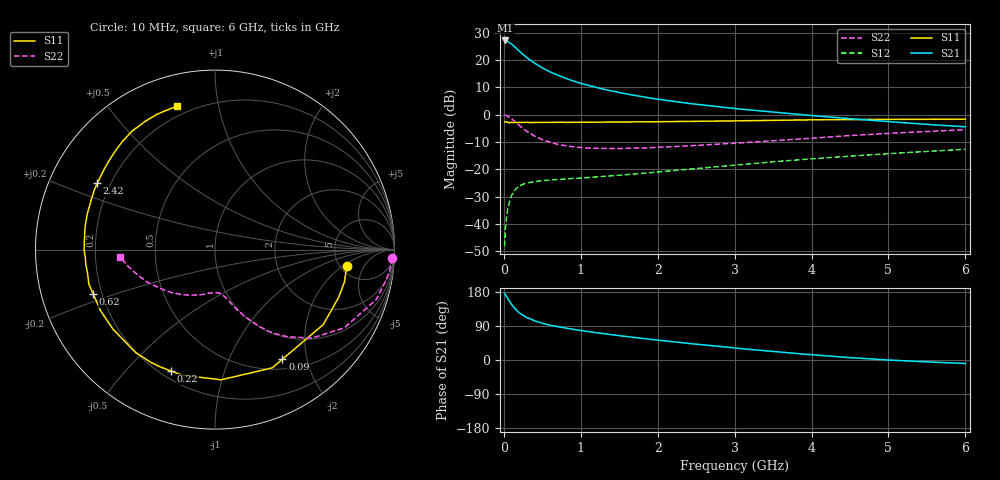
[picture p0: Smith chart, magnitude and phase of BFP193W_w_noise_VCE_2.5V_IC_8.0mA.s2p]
! Infineon Technologies  Discrete & RF Semiconductors
! BFP193W
! VCE = 2.5 V,  IC =  8.0 mA
! Common Emitter S-Parameters:  Jan 2016
# GHz  S  MA  R  50
!  f  S11  S21  S12  S22
! GHz  MAG  ANG  MAG  ANG  MAG  ANG  MAG  ANG
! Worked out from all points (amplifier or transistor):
!   210 points, 10 MHz to 6 GHz, reference 50 ohm
!   highest |S21| = 27.2 dB at 20 MHz (marker M1)
!   |S21| within 3 dB of that: start of sweep to 167.1 MHz
!   unconditionally stable (mu >= 1): 1.414 GHz to 4.33 GHz
!   at 185 MHz: K = 0.19, MSG = 25.1 dB, |S12| = -26.5 dB
!   at 1.52 GHz: K = 1.04, MAG = 13.9 dB, |S12| = -22.1 dB
!   at 6 GHz: K = 0.93, MSG = 4.1 dB, |S12| = -12.7 dB
!   lowest NFmin = 1.25 dB at 450 MHz
!   S11 on the Smith chart (normalised r, x): 10 MHz: 5.78, -2.27; 90 MHz: 0.64, -1.60; 220 MHz: 0.24, -0.67; 620 MHz: 0.17, -0.17; 2.42 GHz: 0.15, +0.26; 6 GHz: 0.15, +0.76
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0.01  0.7402 -6.9  22.81 175.5  0.0039 86.6  0.9872 -2.7
0.02  0.7434 -14.1  22.87 172.6  0.0079 82.9  0.9797 -7.1
0.05  0.7338 -34.7  22.06 161.8  0.0187 74.6  0.9411 -17.1
0.09  0.717 -58.4  20.05 149.7  0.0299 62.3  0.8578 -28.1
0.1  0.732 -64.2  19.7 146.4  0.0328 60.6  0.8424 -31.1
0.15  0.7262 -87.3  17.07 133.8  0.0429 50.7  0.7324 -42.3
0.2  0.7232 -104.7  14.62 124.5  0.049 43.7  0.6335 -50.1
0.22  0.7193 -109.9  13.82 121.9  0.0507 41.6  0.6021 -52.3
0.26  0.7226 -119.6  12.34 116.4  0.0538 37.9  0.5435 -56.8
0.3  0.7242 -127.6  11.03 111.8  0.056 35.2  0.4914 -60.2
0.4  0.7209 -142.0  8.748 103.2  0.0595 30.8  0.4043 -66.3
0.5  0.723 -151.9  7.197 96.9  0.0618 29.1  0.3492 -70.4
0.62  0.722 -160.0  5.917 91.2  0.0639 28.1  0.3069 -73.9
0.8  0.7221 -169.3  4.642 84.1  0.0664 28.6  0.2697 -78.0
1.02  0.7249 -177.4  3.677 77.2  0.0693 30.0  0.2482 -82.8
1.44  0.7337 170.8  2.643 65.7  0.0766 34.1  0.2396 -90.9
2.02  0.7433 158.0  1.906 52.0  0.0896 39.5  0.2535 -102.2
2.42  0.7532 150.6  1.6 43.4  0.1003 42.0  0.2705 -110.5
3.1  0.7728 138.8  1.257 29.9  0.1226 43.9  0.3056 -124.8
4.1  0.8066 123.7  0.938 12.5  0.1589 42.5  0.3779 -145.8
5.1  0.8203 112.5  0.727 -1.0  0.1965 38.4  0.4621 -163.6
6  0.827 104.9  0.6 -9.2  0.2325 33.9  0.5295 -175.5
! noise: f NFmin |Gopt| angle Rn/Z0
0.45  1.25  0.23  133  0.12
0.9  1.3  0.35  156  0.11
1.8  2  0.55  -155  0.13
